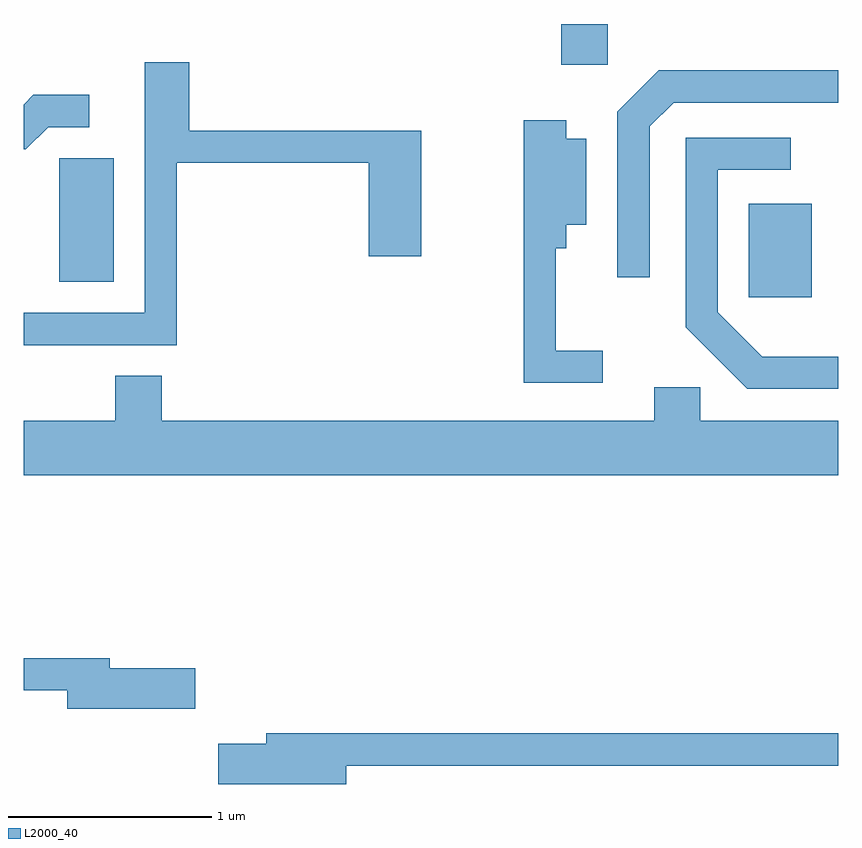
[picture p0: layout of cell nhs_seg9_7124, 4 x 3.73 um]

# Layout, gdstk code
import gdstk
lib = gdstk.Library(unit=1e-6, precision=1e-09)
def R(c, l, rs):  # rectangles x0, y0, x1, y1
    for r in rs: c.add(gdstk.rectangle(r[:2], r[2:], *l))
def P(c, l, *ps):  # polygons
    for p in ps: c.add(gdstk.Polygon(p, *l))
L2000_40 = (2000, 40)

nhs_seg9_7124 = lib.new_cell('nhs_seg9_7124')
R(nhs_seg9_7124, L2000_40, [(399.171,2037.091,399.479,2037.549), (395.786,2037.166,396.054,2037.774), (398.251,2038.231,398.479,2038.432)])
P(nhs_seg9_7124, L2000_40, [(396.364,2037.751),(397.306,2037.751),(397.306,2037.291),(397.564,2037.291),(397.564,2037.909),(396.424,2037.909),(396.424,2038.244),(396.206,2038.244),(396.206,2037.014),(395.611,2037.014),(395.611,2036.856),(396.364,2036.856)],
  [(398.684,2037.929),(398.802,2038.046),(399.611,2038.046),(399.611,2038.204),(398.729,2038.204),(398.526,2038.002),(398.526,2037.188),(398.684,2037.188)],
  [(395.732,2037.926),(395.933,2037.926),(395.933,2038.084),(395.659,2038.084),(395.611,2038.036),(395.611,2037.816),(395.622,2037.816)],
  [(398.453,2036.829),(398.224,2036.829),(398.224,2037.331),(398.274,2037.331),(398.274,2037.446),(398.374,2037.446),(398.374,2037.869),(398.274,2037.869),(398.274,2037.959),(398.066,2037.959),(398.066,2036.671),(398.453,2036.671)],
  [(399.611,2036.799),(399.237,2036.799),(399.019,2037.017),(399.019,2037.716),(399.378,2037.716),(399.378,2037.874),(398.861,2037.874),(398.861,2036.944),(399.164,2036.641),(399.611,2036.641)],
  [(399.611,2036.484),(398.934,2036.484),(398.934,2036.649),(398.706,2036.649),(398.706,2036.484),(396.289,2036.484),(396.289,2036.704),(396.061,2036.704),(396.061,2036.484),(395.611,2036.484),(395.611,2036.216),(399.611,2036.216)],
  [(396.454,2035.269),(396.034,2035.269),(396.034,2035.319),(395.611,2035.319),(395.611,2035.161),(395.826,2035.161),(395.826,2035.071),(396.454,2035.071)],
  [(397.194,2034.791),(399.611,2034.791),(399.611,2034.949),(396.801,2034.949),(396.801,2034.899),(396.566,2034.899),(396.566,2034.701),(397.194,2034.701)])

lib.write_gds('nhs_seg9_7124.gds')
